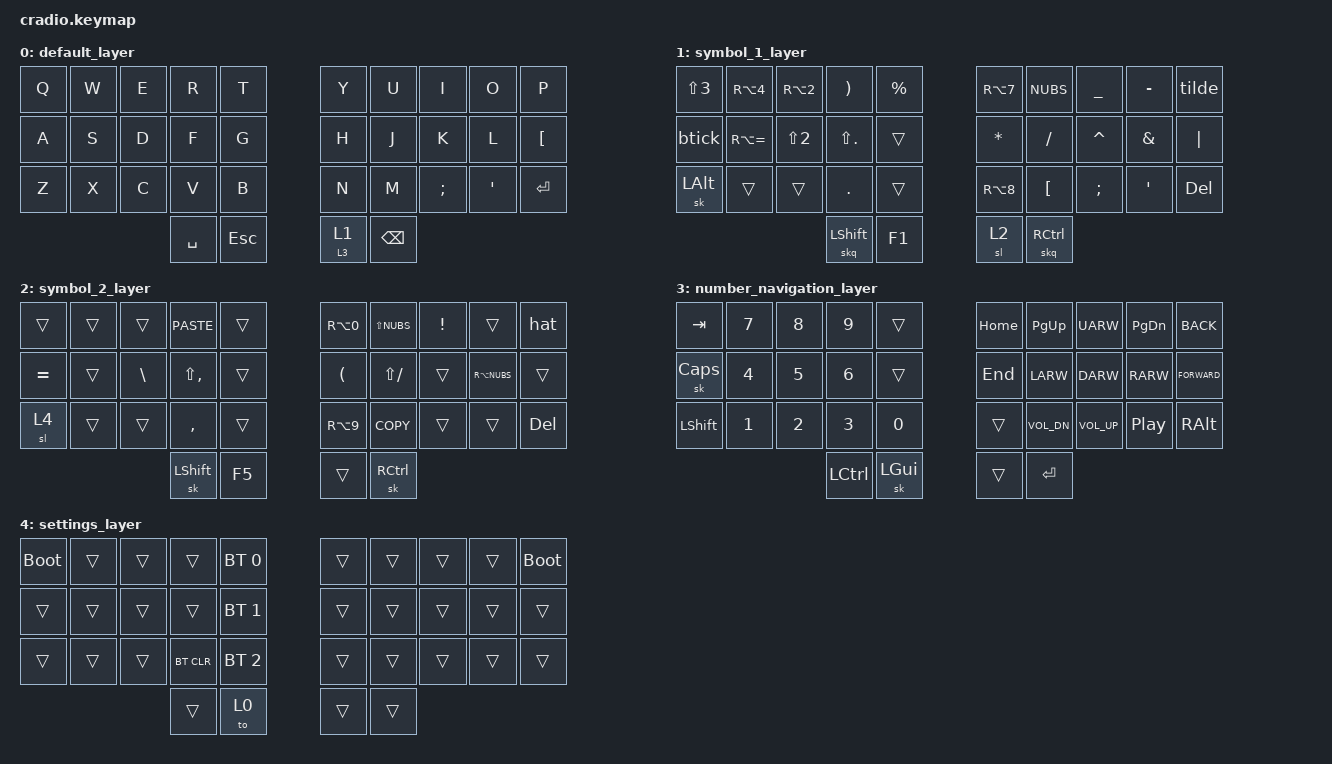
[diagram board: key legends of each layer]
// Copyright (c) 2022 The ZMK Contributors
// SPDX-License-Identifier: MIT

#include <behaviors.dtsi>
#include <dt-bindings/zmk/keys.h>
#include <dt-bindings/zmk/bt.h>

// Home row mods macro
#define HRML(k1,k2,k3,k4) &ht LSHFT k1  &ht LALT k2  &ht LCTRL k3  &ht LGUI k4
#define HRMR(k1,k2,k3,k4) &ht RGUI k1  &ht RCTRL k2  &ht RALT k3  &ht RSHFT k4

/ {
    behaviors {
        ht: hold_tap {
            label = "leader_hold_tap";
            compatible = "zmk,behavior-hold-tap";
            #binding-cells = <2>; 
            flavor = "tap-preferred"; 
            tapping-term-ms = <200>; 
            bindings = <&mo>, <&sl>; 
        };

        skq: sticky_key_quick_release {
            compatible = "zmk,behavior-sticky-key";
            label = "STICKY_KEY_QUICK_RELEASE";
            #binding-cells = <1>;
            bindings = <&kp>;
            release-after-ms = <1000>;
            quick-release;
            ignore-modifiers;
        };
    };

    macros {
        tilde: tilde {
            label = "macro_tilde";
            compatible = "zmk,behavior-macro";
            #binding-cells = <0>;
            bindings = <&kp RA(RBKT) &kp RA(RBKT)>;
        };
        btick: btick {
            label = "macro_btick";
            compatible = "zmk,behavior-macro";
            #binding-cells = <0>;
            bindings = <&kp PLUS &kp PLUS>;
        };
        hat: hat {
            label = "macro_hat";
            compatible = "zmk,behavior-macro";
            #binding-cells = <0>;
            bindings = <&kp RBRC &kp RBRC>;
        };
    };

    keymap {
        compatible = "zmk,keymap";
        default_layer {
            bindings = <
        //╭──────────┬──────────┬──────────┬──────────┬──────────╮   ╭──────────┬──────────┬──────────┬──────────┬──────────╮
            &kp Q      &kp W      &kp E      &kp R      &kp T          &kp Y      &kp U      &kp I      &kp O      &kp P
        //├──────────┼──────────┼──────────┼──────────┼──────────┤   ├──────────┼──────────┼──────────┼──────────┼──────────┤
            &kp A      &kp S      &kp D      &kp F      &kp G          &kp H      &kp J      &kp K      &kp L      &kp LBKT
        //├──────────┼──────────┼──────────┼──────────┼──────────┤   ├──────────┼──────────┼──────────┼──────────┼──────────┤
            &kp Z      &kp X      &kp C      &kp V      &kp B          &kp N      &kp M      &kp SEMI   &kp SQT    &kp ENTER
        //╰──────────┴──────────┴──────────┼──────────┼──────────┤   ├──────────┼──────────┼──────────┴──────────┴──────────╯
                                             &kp SPACE  &kp ESC        &ht 3 1    &kp BSPC
        //                                 ╰──────────┴──────────╯   ╰──────────┴──────────╯
            >;
        };

        symbol_1_layer {
            bindings = <
        //╭──────────┬──────────┬──────────┬──────────┬──────────╮   ╭──────────┬──────────┬──────────┬──────────┬──────────╮
        //│  #       │  $       │  @       │  =       │  %       │   │  {       │  <       │  ?       │  +       │  ~       │
            &kp LS(N3) &kp RA(N4) &kp RA(N2) &kp RPAR   &kp PRCNT      &kp RA(N7) &kp NUBS   &kp UNDER  &kp MINUS  &tilde
        //├──────────┼──────────┼──────────┼──────────┼──────────┤   ├──────────┼──────────┼──────────┼──────────┼──────────┤
        //│  `       │  |       │  "       │  :       │          │   │  (       │  -       │  &       │  /       │  *       │
            &btick &kp RA(EQUAL)  &kp LS(N2) &kp LS(DOT) &trans        &kp ASTRK  &kp FSLH   &kp CARET  &kp AMPS   &kp PIPE
        //├──────────┼──────────┼──────────┼──────────┼──────────┤   ├──────────┼──────────┼──────────┼──────────┼──────────┤
        //│          │          │          │  .       │          │   │  [       │  å       │  æ       │  ø       │          │
            &sk LALT   &trans     &trans     &kp DOT    &trans        &kp RA(N8)  &kp LBKT   &kp SEMI   &kp SQT    &kp DEL
        //╰──────────┴──────────┴──────────┼──────────┼──────────┤   ├──────────┼──────────┼──────────┴──────────┴──────────╯
                                            &skq LSHIFT &kp F1         &sl 2      &skq RCTRL
        //                                 ╰──────────┴──────────╯   ╰──────────┴──────────╯
            >;
        };

        symbol_2_layer {
            bindings = <
        //╭──────────┬──────────┬──────────┬──────────┬──────────╮   ╭──────────┬──────────┬──────────┬──────────┬──────────╮
        //│          │          │          │          │          │   │  }       │  >       │  !       │          │  ^       │
            &trans     &trans     &trans     &kp K_PASTE &trans        &kp RA(N0) &kp LS(NUBS) &kp EXCL &trans     &hat
        //├──────────┼──────────┼──────────┼──────────┼──────────┤   ├──────────┼──────────┼──────────┼──────────┼──────────┤
        //│  ´       │          │  '       │  ;       │          │   │  )       │  _       │          │ \        │          │
            &kp EQUAL  &trans     &kp BSLH   &kp LS(COMMA) &trans      &kp LPAR &kp LS(FSLH) &trans   &kp RA(NUBS) &trans
        //├──────────┼──────────┼──────────┼──────────┼──────────┤   ├──────────┼──────────┼──────────┼──────────┼──────────┤
        //│          │          │          │  ,       │          │   │  ]       │          │          │          │          │
            &sl 4      &trans     &trans     &kp COMMA  &trans        &kp RA(N9)  &kp K_COPY &trans     &trans     &kp DEL
        //╰──────────┴──────────┴──────────┼──────────┼──────────┤   ├──────────┼──────────┼──────────┴──────────┴──────────╯
                                             &sk LSHIFT &kp F5         &trans     &sk RCTRL
        //                                 ╰──────────┴──────────╯   ╰──────────┴──────────╯
            >;
        };

        number_navigation_layer {
            bindings = <
        //╭──────────┬──────────┬──────────┬──────────┬──────────╮   ╭──────────┬──────────┬──────────┬──────────┬──────────╮
        //│          │  7       │  8       │  9       │          │   │ HOME     │ PAGE UP  │ UP       │ PAGE DN  │          │ 
            &kp TAB     &kp N7     &kp N8     &kp N9     &trans         &kp HOME   &kp PG_UP  &kp UARW   &kp PG_DN  &kp K_BACK
        //├──────────┼──────────┼──────────┼──────────┼──────────┤   ├──────────┼──────────┼──────────┼──────────┼──────────┤
        //│          │  4       │  5       │  6       │          │   │ END      │ LEFT     │ DOWN     │ RIGHT    │          │
            &sk CAPS  &kp N4     &kp N5     &kp N6     &trans         &kp END   &kp LARW   &kp DARW   &kp RARW   &kp K_FORWARD
        //├──────────┼──────────┼──────────┼──────────┼──────────┤   ├──────────┼──────────┼──────────┼──────────┼──────────┤
        //│          │  1       │  2       │  3       │  0       │   │          │ VOl DOWN │ VOL UP   │PLAY PAUSE│          │
            &kp LSHFT  &kp N1     &kp N2     &kp N3     &kp N0         &trans   &kp C_VOL_DN &kp C_VOL_UP &kp C_PP  &kp RALT
        //╰──────────┴──────────┴──────────┼──────────┼──────────┤   ├──────────┼──────────┼──────────┴──────────┴──────────╯
        //                                 │  TAB     │  WINDOWS │   │          │ ENTER    │
                                             &kp LCTRL  &sk LGUI       &trans     &kp ENTER 
        //                                 ╰──────────┴──────────╯   ╰──────────┴──────────╯
            >;
        };
        
        settings_layer {
            bindings = <
        //╭──────────┬──────────┬──────────┬──────────┬──────────╮   ╭──────────┬──────────┬──────────┬──────────┬──────────╮
        //│          │          │          │          │PROFILE 0 │   │          │          │          │          │          │
           &bootloader &trans     &trans     &trans    &bt BT_SEL 0    &trans     &trans     &trans     &trans    &bootloader
        //├──────────┼──────────┼──────────┼──────────┼──────────┤   ├──────────┼──────────┼──────────┼──────────┼──────────┤
        //│          │          │          │          │PROFILE 1 │   │          │          │          │          │          │
            &trans     &trans     &trans     &trans    &bt BT_SEL 1    &trans     &trans     &trans     &trans     &trans     
        //├──────────┼──────────┼──────────┼──────────┼──────────┤   ├──────────┼──────────┼──────────┼──────────┼──────────┤
        //│          │          │          │ CLEAR BT │PROFILE 2 │   │          │          │          │          │          │
            &trans     &trans     &trans    &bt BT_CLR &bt BT_SEL 2    &trans     &trans     &trans     &trans     &trans
        //╰──────────┴──────────┴──────────┼──────────┼──────────┤   ├──────────┼──────────┼──────────┴──────────┴──────────╯
                                             &trans     &to 0          &trans     &trans
        //                                 ╰──────────┴──────────╯   ╰──────────┴──────────╯
            >;
        };
    };
};
